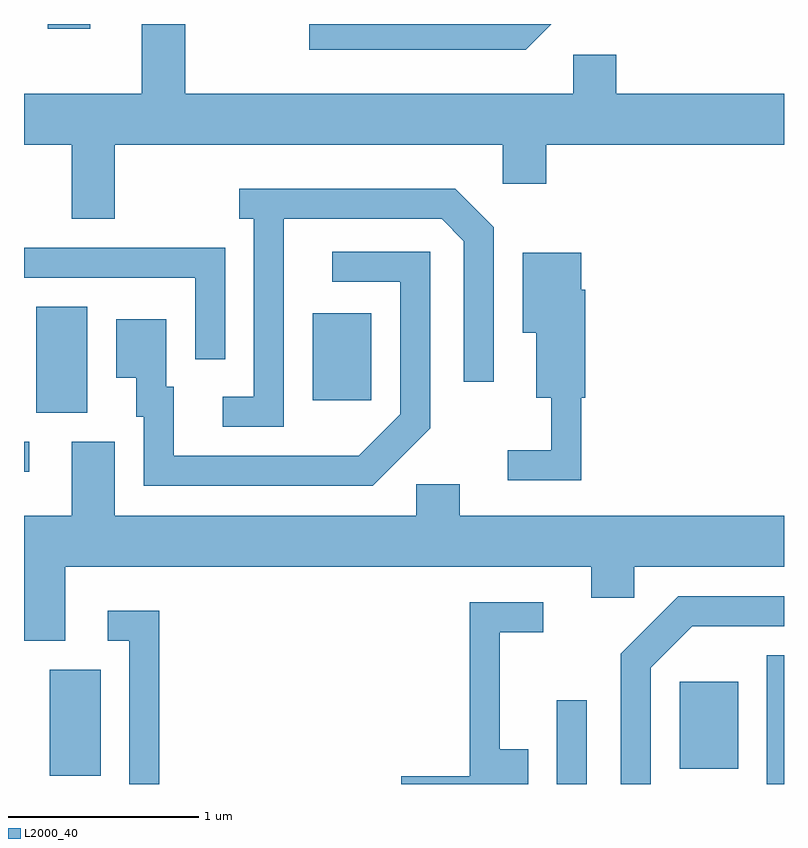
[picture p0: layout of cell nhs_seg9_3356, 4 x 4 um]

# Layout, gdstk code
import gdstk
lib = gdstk.Library(unit=1e-6, precision=1e-09)
def R(c, l, rs):  # rectangles x0, y0, x1, y1
    for r in rs: c.add(gdstk.rectangle(r[:2], r[2:], *l))
def P(c, l, *ps):  # polygons
    for p in ps: c.add(gdstk.Polygon(p, *l))
L2000_40 = (2000, 40)

nhs_seg9_3356 = lib.new_cell('nhs_seg9_3356')
R(nhs_seg9_3356, L2000_40, [(286.416,2008.432,286.574,2008.873), (287.521,2008.432,287.611,2009.109), (283.746,2008.476,284.014,2009.034), (287.061,2008.511,287.369,2008.969), (283.611,2010.076,283.638,2010.234), (283.676,2010.386,283.944,2010.944), (285.131,2010.451,285.439,2010.909), (283.736,2012.406,283.959,2012.432)])
P(nhs_seg9_3356, L2000_40, [(286.387,2012.432),(285.113,2012.432),(285.113,2012.296),(286.252,2012.296)],
  [(284.089,2011.796),(286.131,2011.796),(286.131,2011.591),(286.359,2011.591),(286.359,2011.796),(287.611,2011.796),(287.611,2012.064),(286.729,2012.064),(286.729,2012.269),(286.501,2012.269),(286.501,2012.064),(284.459,2012.064),(284.459,2012.432),(284.231,2012.432),(284.231,2012.064),(283.611,2012.064),(283.611,2011.796),(283.861,2011.796),(283.861,2011.406),(284.089,2011.406)],
  [(284.979,2011.406),(285.809,2011.406),(285.926,2011.289),(285.926,2010.548),(286.084,2010.548),(286.084,2011.362),(285.882,2011.564),(284.743,2011.564),(284.743,2011.406),(284.821,2011.406),(284.821,2010.469),(284.658,2010.469),(284.658,2010.311),(284.979,2010.311)],
  [(284.669,2011.254),(283.611,2011.254),(283.611,2011.096),(284.511,2011.096),(284.511,2010.668),(284.669,2010.668)],
  [(285.749,2010.304),(285.749,2011.234),(285.233,2011.234),(285.233,2011.076),(285.591,2011.076),(285.591,2010.377),(285.374,2010.159),(284.399,2010.159),(284.399,2010.524),(284.359,2010.524),(284.359,2010.879),(284.096,2010.879),(284.096,2010.571),(284.201,2010.571),(284.201,2010.366),(284.241,2010.366),(284.241,2010.001),(285.447,2010.001)],
  [(286.544,2010.466),(286.564,2010.466),(286.564,2011.034),(286.544,2011.034),(286.544,2011.229),(286.236,2011.229),(286.236,2010.806),(286.306,2010.806),(286.306,2010.466),(286.386,2010.466),(286.386,2010.189),(286.158,2010.189),(286.158,2010.031),(286.544,2010.031)],
  [(283.829,2009.576),(286.596,2009.576),(286.596,2009.411),(286.824,2009.411),(286.824,2009.576),(287.611,2009.576),(287.611,2009.844),(285.904,2009.844),(285.904,2010.009),(285.676,2010.009),(285.676,2009.844),(284.089,2009.844),(284.089,2010.234),(283.861,2010.234),(283.861,2009.844),(283.611,2009.844),(283.611,2009.186),(283.829,2009.186)],
  [(286.909,2009.044),(287.127,2009.261),(287.611,2009.261),(287.611,2009.419),(287.054,2009.419),(286.751,2009.117),(286.751,2008.432),(286.909,2008.432)],
  [(286.264,2008.614),(286.114,2008.614),(286.114,2009.231),(286.343,2009.231),(286.343,2009.389),(285.956,2009.389),(285.956,2008.474),(285.596,2008.474),(285.596,2008.432),(286.264,2008.432)],
  [(284.324,2009.344),(284.053,2009.344),(284.053,2009.186),(284.166,2009.186),(284.166,2008.432),(284.324,2008.432)])

lib.write_gds('nhs_seg9_3356.gds')
